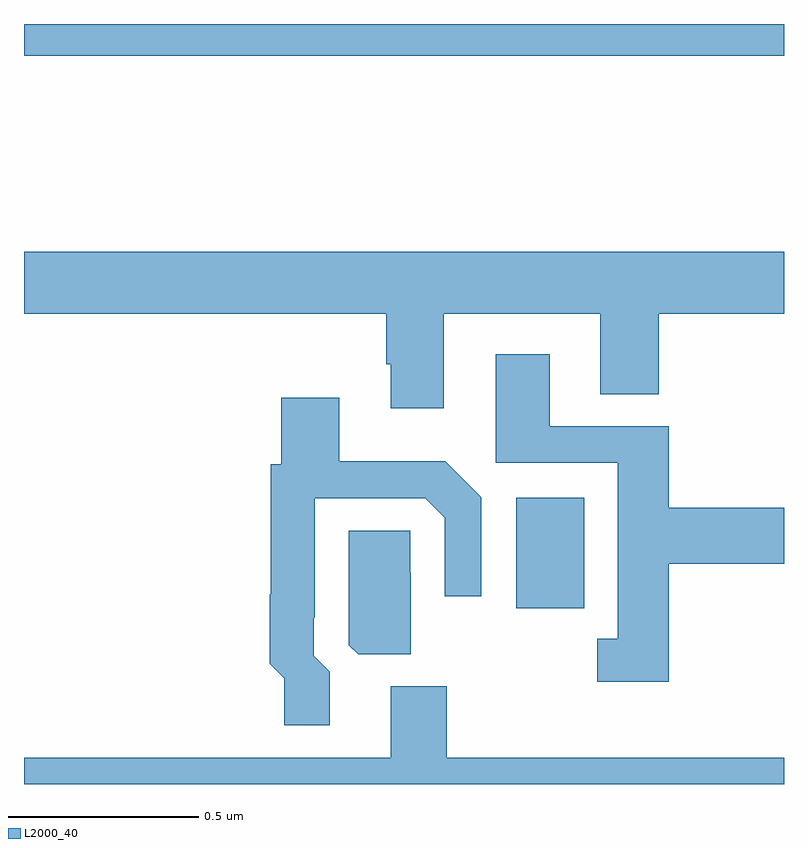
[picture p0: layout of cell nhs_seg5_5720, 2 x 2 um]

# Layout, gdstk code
import gdstk
lib = gdstk.Library(unit=1e-6, precision=1e-09)
def R(c, l, rs):  # rectangles x0, y0, x1, y1
    for r in rs: c.add(gdstk.rectangle(r[:2], r[2:], *l))
def P(c, l, *ps):  # polygons
    for p in ps: c.add(gdstk.Polygon(p, *l))
L2000_40 = (2000, 40)

nhs_seg5_5720 = lib.new_cell('nhs_seg5_5720')
R(nhs_seg5_5720, L2000_40, [(187.295,913.262,187.474,913.552), (186,914.716,188,914.799)])
P(nhs_seg5_5720, L2000_40, [(187.105,914.036),(187.517,914.036),(187.517,913.825),(187.67,913.825),(187.67,914.036),(188,914.036),(188,914.2),(186,914.2),(186,914.036),(186.953,914.036),(186.953,913.903),(186.965,913.903),(186.965,913.788),(187.105,913.788)],
  [(187.697,913.379),(188,913.379),(188,913.526),(187.697,913.526),(187.697,913.74),(187.384,913.74),(187.384,913.93),(187.241,913.93),(187.241,913.644),(187.562,913.644),(187.562,913.181),(187.509,913.181),(187.509,913.068),(187.697,913.068)],
  [(186.805,913.094),(186.762,913.137),(186.762,913.237),(186.765,913.237),(186.765,913.551),(187.056,913.551),(187.107,913.5),(187.107,913.293),(187.203,913.293),(187.203,913.554),(187.109,913.648),(186.829,913.648),(186.829,913.816),(186.677,913.816),(186.677,913.641),(186.649,913.641),(186.649,913.298),(186.647,913.298),(186.647,913.116),(186.685,913.077),(186.685,912.954),(186.805,912.954)],
  [(187.018,913.355),(187.017,913.355),(187.017,913.466),(186.855,913.466),(186.855,913.164),(186.879,913.141),(187.018,913.141)],
  [(188,912.868),(187.113,912.868),(187.113,913.056),(186.965,913.056),(186.965,912.868),(186,912.868),(186,912.799),(188,912.799)])

lib.write_gds('nhs_seg5_5720.gds')
